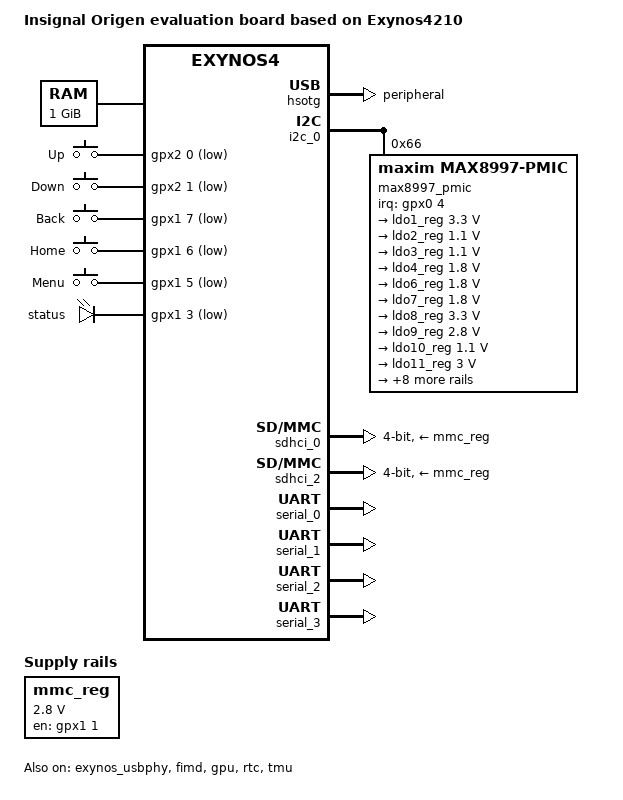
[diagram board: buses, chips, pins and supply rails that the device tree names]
// SPDX-License-Identifier: GPL-2.0
/*
 * Samsung's Exynos4210 based Origen board device tree source
 *
 * Copyright (c) 2010-2011 Samsung Electronics Co., Ltd.
 *		http://www.samsung.com
 * Copyright (c) 2010-2011 Linaro Ltd.
 *		www.linaro.org
 *
 * Device tree source file for Insignal's Origen board which is based on
 * Samsung's Exynos4210 SoC.
 */

/dts-v1/;
#include "exynos4210.dtsi"
#include <dt-bindings/gpio/gpio.h>
#include <dt-bindings/input/input.h>
#include "exynos-mfc-reserved-memory.dtsi"

/ {
	model = "Insignal Origen evaluation board based on Exynos4210";
	compatible = "insignal,origen", "samsung,exynos4210", "samsung,exynos4";

	memory@40000000 {
		device_type = "memory";
		reg = <0x40000000 0x10000000
		       0x50000000 0x10000000
		       0x60000000 0x10000000
		       0x70000000 0x10000000>;
	};

	chosen {
		bootargs = "root=/dev/ram0 rw ramdisk=8192 initrd=0x41000000,8M init=/linuxrc";
		stdout-path = "serial2:115200n8";
	};

	mmc_reg: voltage-regulator {
		compatible = "regulator-fixed";
		regulator-name = "VMEM_VDD_2.8V";
		regulator-min-microvolt = <2800000>;
		regulator-max-microvolt = <2800000>;
		gpio = <&gpx1 1 GPIO_ACTIVE_HIGH>;
		enable-active-high;
	};

	gpio_keys {
		compatible = "gpio-keys";

		up {
			label = "Up";
			gpios = <&gpx2 0 GPIO_ACTIVE_LOW>;
			linux,code = <KEY_UP>;
			wakeup-source;
		};

		down {
			label = "Down";
			gpios = <&gpx2 1 GPIO_ACTIVE_LOW>;
			linux,code = <KEY_DOWN>;
			wakeup-source;
		};

		back {
			label = "Back";
			gpios = <&gpx1 7 GPIO_ACTIVE_LOW>;
			linux,code = <KEY_BACK>;
			wakeup-source;
		};

		home {
			label = "Home";
			gpios = <&gpx1 6 GPIO_ACTIVE_LOW>;
			linux,code = <KEY_HOME>;
			wakeup-source;
		};

		menu {
			label = "Menu";
			gpios = <&gpx1 5 GPIO_ACTIVE_LOW>;
			linux,code = <KEY_MENU>;
			wakeup-source;
		};
	};

	leds {
		compatible = "gpio-leds";
		status {
			gpios = <&gpx1 3 GPIO_ACTIVE_LOW>;
			linux,default-trigger = "heartbeat";
		};
	};

	fixed-rate-clocks {
		xxti {
			compatible = "samsung,clock-xxti";
			clock-frequency = <0>;
		};

		xusbxti {
			compatible = "samsung,clock-xusbxti";
			clock-frequency = <24000000>;
		};
	};

	display-timings {
		native-mode = <&timing0>;
		timing0: timing {
			clock-frequency = <47500000>;
			hactive = <1024>;
			vactive = <600>;
			hfront-porch = <64>;
			hback-porch = <16>;
			hsync-len = <48>;
			vback-porch = <64>;
			vfront-porch = <16>;
			vsync-len = <3>;
		};
	};
};

&cpu0 {
	cpu0-supply = <&buck1_reg>;
};

&exynos_usbphy {
	status = "okay";
};

&fimd {
	pinctrl-0 = <&lcd_en &lcd_clk &lcd_data24 &pwm0_out>;
	pinctrl-names = "default";
	status = "okay";
};

&gpu {
	mali-supply = <&buck3_reg>;
	status = "okay";
};

&hsotg {
	vusb_d-supply = <&ldo3_reg>;
	vusb_a-supply = <&ldo8_reg>;
	dr_mode = "peripheral";
	status = "okay";
};

&i2c_0 {
	status = "okay";
	samsung,i2c-sda-delay = <100>;
	samsung,i2c-max-bus-freq = <20000>;
	pinctrl-0 = <&i2c0_bus>;
	pinctrl-names = "default";

	max8997_pmic@66 {
		compatible = "maxim,max8997-pmic";
		reg = <0x66>;
		interrupt-parent = <&gpx0>;
		interrupts = <4 IRQ_TYPE_NONE>, <3 IRQ_TYPE_NONE>;
		pinctrl-names = "default";
		pinctrl-0 = <&max8997_irq>;

		max8997,pmic-buck1-dvs-voltage = <1350000>;
		max8997,pmic-buck2-dvs-voltage = <1100000>;
		max8997,pmic-buck5-dvs-voltage = <1200000>;

		regulators {
			ldo1_reg: LDO1 {
				regulator-name = "VDD_ABB_3.3V";
				regulator-min-microvolt = <3300000>;
				regulator-max-microvolt = <3300000>;
			};

			ldo2_reg: LDO2 {
				regulator-name = "VDD_ALIVE_1.1V";
				regulator-min-microvolt = <1100000>;
				regulator-max-microvolt = <1100000>;
				regulator-always-on;
			};

			ldo3_reg: LDO3 {
				regulator-name = "VMIPI_1.1V";
				regulator-min-microvolt = <1100000>;
				regulator-max-microvolt = <1100000>;
			};

			ldo4_reg: LDO4 {
				regulator-name = "VDD_RTC_1.8V";
				regulator-min-microvolt = <1800000>;
				regulator-max-microvolt	= <1800000>;
				regulator-always-on;
			};

			ldo6_reg: LDO6 {
				regulator-name = "VMIPI_1.8V";
				regulator-min-microvolt = <1800000>;
				regulator-max-microvolt	= <1800000>;
				regulator-always-on;
			};

			ldo7_reg: LDO7 {
				regulator-name = "VDD_AUD_1.8V";
				regulator-min-microvolt = <1800000>;
				regulator-max-microvolt	= <1800000>;
			};

			ldo8_reg: LDO8 {
				regulator-name = "VADC_3.3V";
				regulator-min-microvolt = <3300000>;
				regulator-max-microvolt	= <3300000>;
			};

			ldo9_reg: LDO9 {
				regulator-name = "DVDD_SWB_2.8V";
				regulator-min-microvolt = <2800000>;
				regulator-max-microvolt	= <2800000>;
				regulator-always-on;
			};

			ldo10_reg: LDO10 {
				regulator-name = "VDD_PLL_1.1V";
				regulator-min-microvolt = <1100000>;
				regulator-max-microvolt	= <1100000>;
				regulator-always-on;
			};

			ldo11_reg: LDO11 {
				regulator-name = "VDD_AUD_3V";
				regulator-min-microvolt = <3000000>;
				regulator-max-microvolt	= <3000000>;
			};

			ldo14_reg: LDO14 {
				regulator-name = "AVDD18_SWB_1.8V";
				regulator-min-microvolt = <1800000>;
				regulator-max-microvolt	= <1800000>;
				regulator-always-on;
			};

			ldo17_reg: LDO17 {
				regulator-name = "VDD_SWB_3.3V";
				regulator-min-microvolt = <3300000>;
				regulator-max-microvolt	= <3300000>;
				regulator-always-on;
			};

			ldo21_reg: LDO21 {
				regulator-name = "VDD_MIF_1.2V";
				regulator-min-microvolt = <1200000>;
				regulator-max-microvolt	= <1200000>;
				regulator-always-on;
			};

			buck1_reg: BUCK1 {
				regulator-name = "VDD_ARM_1.2V";
				regulator-min-microvolt = <950000>;
				regulator-max-microvolt	= <1350000>;
				regulator-always-on;
				regulator-boot-on;
			};

			buck2_reg: BUCK2 {
				regulator-name = "VDD_INT_1.1V";
				regulator-min-microvolt = <900000>;
				regulator-max-microvolt	= <1100000>;
				regulator-always-on;
				regulator-boot-on;
			};

			buck3_reg: BUCK3 {
				regulator-name = "VDD_G3D_1.1V";
				regulator-min-microvolt = <900000>;
				regulator-max-microvolt = <1100000>;
			};

			buck5_reg: BUCK5 {
				regulator-name = "VDDQ_M1M2_1.2V";
				regulator-min-microvolt = <1200000>;
				regulator-max-microvolt = <1200000>;
				regulator-always-on;
			};

			buck7_reg: BUCK7 {
				regulator-name = "VDD_LCD_3.3V";
				regulator-min-microvolt = <3300000>;
				regulator-max-microvolt = <3300000>;
				regulator-boot-on;
				regulator-always-on;
			};
		};
	};
};

&pinctrl_1 {
	max8997_irq: max8997-irq {
		samsung,pins = "gpx0-3", "gpx0-4";
		samsung,pin-pud = <EXYNOS_PIN_PULL_NONE>;
	};
};

&sdhci_0 {
	bus-width = <4>;
	pinctrl-0 = <&sd0_clk &sd0_cmd &sd0_bus4 &sd0_cd>;
	pinctrl-names = "default";
	vmmc-supply = <&mmc_reg>;
	status = "okay";
};

&sdhci_2 {
	bus-width = <4>;
	pinctrl-0 = <&sd2_clk &sd2_cmd &sd2_bus4 &sd2_cd>;
	pinctrl-names = "default";
	vmmc-supply = <&mmc_reg>;
	status = "okay";
};

&serial_0 {
	status = "okay";
};

&serial_1 {
	status = "okay";
};

&serial_2 {
	status = "okay";
};

&serial_3 {
	status = "okay";
};

&rtc {
	status = "okay";
};

&tmu {
	status = "okay";
};
